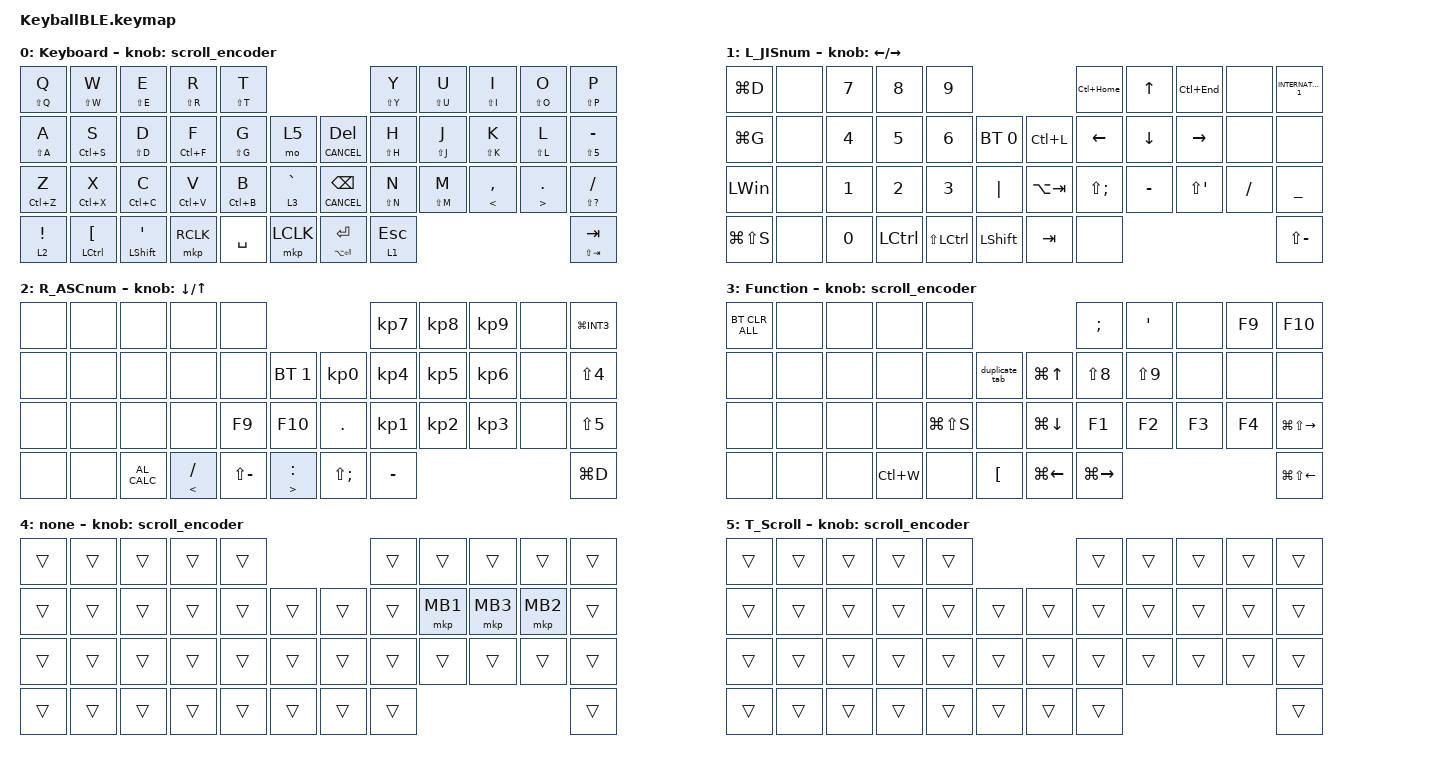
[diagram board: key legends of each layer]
#define ZMK_POINTING_DEFAULT_SCRL_VAL 20

#include <behaviors.dtsi>
#include <dt-bindings/zmk/bt.h>
#include <dt-bindings/zmk/keys.h>
#include <dt-bindings/zmk/pointing.h>

#define MOUSE 4
#define SCROLL 5
#define NUM 6

&msc {
    acceleration-exponent = <0>;
    time-to-max-speed-ms = <40>;
    delay-ms = <0>;
};

&mt {
    flavor = "balanced";
    quick-tap-ms = <175>;
    tapping-term-ms = <200>;
    require-prior-idle-ms = <200>;
};

/ {
    combos {
        compatible = "zmk,combos";

        double_quotation {
            bindings = <&kp DOUBLE_QUOTES>;
            key-positions = <20 21>;
        };
    };

    macros {
        to_layer_0: to_layer_0 {
            compatible = "zmk,behavior-macro-one-param";
            #binding-cells = <1>;
            bindings = <&to 0 &macro_param_1to1 &kp MACRO_PLACEHOLDER>;
            label = "TO_LAYER_0";
        };

        duplicate_tab: duplicate_tab {
            compatible = "zmk,behavior-macro";
            #binding-cells = <0>;
            bindings =
                <&macro_press>,
                <&kp LCTRL>,
                <&macro_tap>,
                <&kp L>,
                <&macro_release>,
                <&kp LCTRL>,
                <&macro_pause_for_release>,
                <&macro_press>,
                <&kp LALT>,
                <&macro_tap>,
                <&kp ENTER>,
                <&macro_release>,
                <&kp LALT>;

            label = "DUPLICATE_TAB";
        };
    };

    behaviors {
        lt_to_layer_0: lt_to_layer_0 {
            compatible = "zmk,behavior-hold-tap";
            label = "LAYER_TAP_TO_0";
            bindings = <&mo>, <&to_layer_0>;

            #binding-cells = <2>;
            tapping-term-ms = <200>;
        };

        scroll_encoder: scroll_encoder {
            compatible = "zmk,behavior-sensor-rotate";
            #sensor-binding-cells = <0>;
            bindings = <&msc SCRL_DOWN>, <&msc SCRL_UP>;

            tap-ms = <100>;
        };
    };

    keymap {
        compatible = "zmk,keymap";

        Keyboard {
            bindings = <
&mt LS(Q) Q        &mt LS(W) W     &mt LS(E) E                  &mt LS(R) R  &mt LS(T) T                                           &mt LS(Y) Y  &mt LS(U) U  &mt LS(I) I          &mt LS(O) O              &mt LS(P) P
&mt LS(A) A        &mt LC(S) S     &mt LS(D) D                  &mt LC(F) F  &mt LS(G) G  &mo 5            &mt K_CANCEL DELETE     &mt LS(H) H  &mt LS(J) J  &mt LS(K) K          &mt LS(L) L              &mt LS(N5) MINUS
&mt LC(Z) Z        &mt LC(X) X     &mt LC(C) C                  &mt LC(V) V  &mt LC(B) B  &lt 3 GRAVE      &mt K_CANCEL BACKSPACE  &mt LS(N) N  &mt LS(M) M  &mt LESS_THAN COMMA  &mt GREATER_THAN PERIOD  &mt LS(QUESTION) SLASH
&lt 2 EXCLAMATION  &mt LCTRL LBKT  &mt LEFT_SHIFT SINGLE_QUOTE  &mkp RCLK    &kp SPACE    &mkp LCLK        &mt LA(ENTER) ENTER     &lt 1 ESC                                                               &mt LS(TAB) TAB
            >;

            sensor-bindings = <&scroll_encoder>;
        };

        L_JISnum {
            bindings = <
&kp LG(D)      &none  &kp NUMBER_7  &kp NUMBER_8  &kp NUMBER_9                                  &kp LC(HOME)  &kp UP     &kp LC(END)           &none      &kp INTERNATIONAL_1
&kp LG(G)      &none  &kp NUMBER_4  &kp NUMBER_5  &kp NUMBER_6   &bt BT_SEL 0      &kp LC(L)    &kp LEFT      &kp DOWN   &kp RIGHT             &none      &none
&kp LWIN       &none  &kp NUMBER_1  &kp NUMBER_2  &kp NUMBER_3   &kp PIPE          &kp LA(TAB)  &kp LS(SEMI)  &kp MINUS  &kp LS(SINGLE_QUOTE)  &kp SLASH  &kp UNDER
&kp LG(LS(S))  &none  &kp NUMBER_0  &kp LCTRL     &kp LS(LCTRL)  &kp LSHFT         &kp TAB      &none                                                     &kp LS(MINUS)
            >;

            sensor-bindings = <&inc_dec_kp LEFT RIGHT>;
        };

        R_ASCnum {
            bindings = <
&none  &none  &none          &none                &none                                                         &kp KP_NUMBER_7  &kp KP_NUMBER_8  &kp KP_NUMBER_9  &none  &kp LG(INT3)
&none  &none  &none          &none                &none          &bt BT_SEL 1                &kp KP_NUMBER_0    &kp KP_NUMBER_4  &kp KP_NUMBER_5  &kp KP_NUMBER_6  &none  &kp LS(NUMBER_4)
&none  &none  &none          &none                &kp F9         &kp F10                     &kp DOT            &kp KP_NUMBER_1  &kp KP_NUMBER_2  &kp KP_NUMBER_3  &none  &kp LS(NUMBER_5)
&none  &none  &kp C_AL_CALC  &mt LESS_THAN SLASH  &kp LS(MINUS)  &mt GREATER_THAN COLON      &kp LS(SEMICOLON)  &kp MINUS                                                 &kp LG(D)
            >;

            sensor-bindings = <&inc_dec_kp DOWN_ARROW UP_ARROW>;
        };

        Function {
            bindings = <
&bt BT_CLR_ALL  &none  &none  &none      &none                                            &kp SEMI          &kp SINGLE_QUOTE  &none   &kp F9  &kp F10
&none           &none  &none  &none      &none          &duplicate_tab      &kp LG(UP)    &kp LS(NUMBER_8)  &kp LS(NUMBER_9)  &none   &none   &none
&none           &none  &none  &none      &kp LG(LS(S))  &none               &kp LG(DOWN)  &kp F1            &kp F2            &kp F3  &kp F4  &kp LG(LS(RIGHT))
&none           &none  &none  &kp LC(W)  &none          &kp LBKT            &kp LG(LEFT)  &kp LG(RIGHT)                                       &kp LG(LS(LEFT))
            >;

            sensor-bindings = <&scroll_encoder>;
        };

        none {
            bindings = <
&trans  &trans  &trans  &trans  &trans                      &trans  &trans    &trans    &trans    &trans
&trans  &trans  &trans  &trans  &trans  &trans      &trans  &trans  &mkp MB1  &mkp MB3  &mkp MB2  &trans
&trans  &trans  &trans  &trans  &trans  &trans      &trans  &trans  &trans    &trans    &trans    &trans
&trans  &trans  &trans  &trans  &trans  &trans      &trans  &trans                                &trans
            >;

            sensor-bindings = <&scroll_encoder>;
        };

        T_Scroll {
            bindings = <
&trans  &trans  &trans  &trans  &trans                      &trans  &trans  &trans  &trans  &trans
&trans  &trans  &trans  &trans  &trans  &trans      &trans  &trans  &trans  &trans  &trans  &trans
&trans  &trans  &trans  &trans  &trans  &trans      &trans  &trans  &trans  &trans  &trans  &trans
&trans  &trans  &trans  &trans  &trans  &trans      &trans  &trans                          &trans
            >;

            sensor-bindings = <&scroll_encoder>;
        };
    };
};
